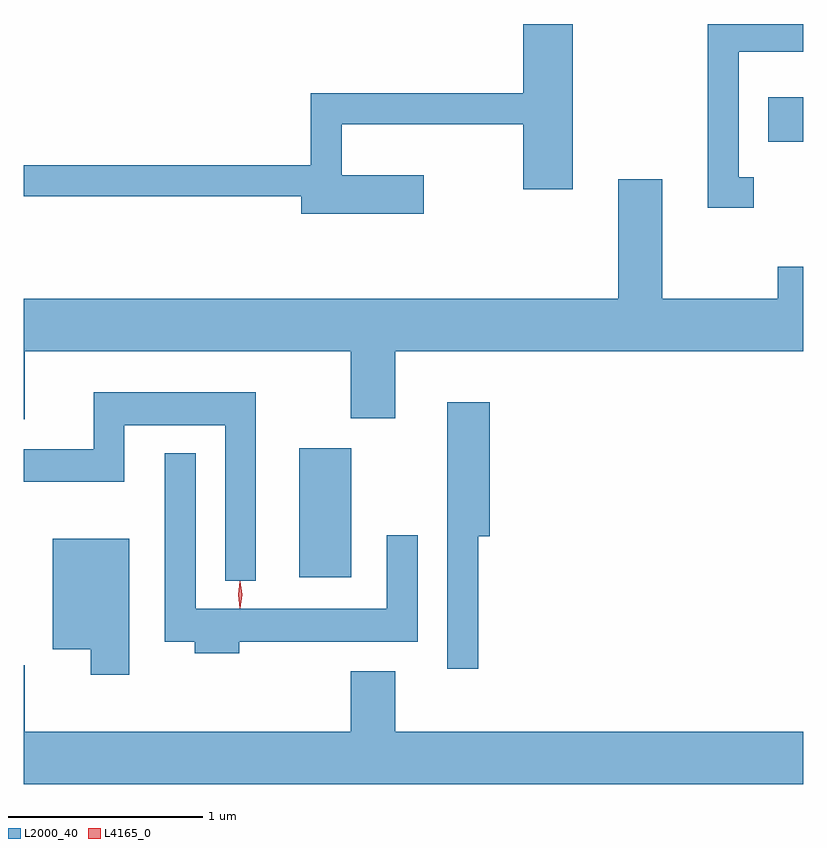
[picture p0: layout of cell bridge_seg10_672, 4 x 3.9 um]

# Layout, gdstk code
import gdstk
lib = gdstk.Library(unit=1e-6, precision=1e-09)
def R(c, l, rs):  # rectangles x0, y0, x1, y1
    for r in rs: c.add(gdstk.rectangle(r[:2], r[2:], *l))
def P(c, l, *ps):  # polygons
    for p in ps: c.add(gdstk.Polygon(p, *l))
L2000_40 = (2000, 40)
L4165_0 = (4165, 0)

bridge_seg10_672 = lib.new_cell('bridge_seg10_672')
R(bridge_seg10_672, L2000_40, [(1042.576,2121.636,1042.844,2122.299), (1044.981,2123.871,1045.162,2124.099)])
P(bridge_seg10_672, L2000_40, [(1043.214,2123.699),(1042.794,2123.699),(1042.794,2123.961),(1043.726,2123.961),(1043.726,2123.626),(1043.979,2123.626),(1043.979,2124.474),(1043.726,2124.474),(1043.726,2124.119),(1042.636,2124.119),(1042.636,2123.749),(1041.162,2123.749),(1041.162,2123.591),(1042.586,2123.591),(1042.586,2123.501),(1043.214,2123.501)],
  [(1044.908,2123.689),(1044.829,2123.689),(1044.829,2124.331),(1045.162,2124.331),(1045.162,2124.474),(1044.671,2124.474),(1044.671,2123.531),(1044.908,2123.531)],
  [(1041.169,2122.796),(1042.841,2122.796),(1042.841,2122.451),(1043.069,2122.451),(1043.069,2122.796),(1045.162,2122.796),(1045.162,2123.229),(1045.031,2123.229),(1045.031,2123.064),(1044.439,2123.064),(1044.439,2123.679),(1044.211,2123.679),(1044.211,2123.064),(1041.162,2123.064),(1041.162,2122.446),(1041.169,2122.446)],
  [(1042.354,2122.584),(1041.521,2122.584),(1041.521,2122.294),(1041.162,2122.294),(1041.162,2122.126),(1041.679,2122.126),(1041.679,2122.416),(1042.196,2122.416),(1042.196,2121.618),(1042.354,2121.618)],
  [(1043.494,2121.846),(1043.554,2121.846),(1043.554,2122.534),(1043.336,2122.534),(1043.336,2121.168),(1043.494,2121.168)],
  [(1042.269,2121.306),(1043.184,2121.306),(1043.184,2121.853),(1043.026,2121.853),(1043.026,2121.474),(1042.044,2121.474),(1042.044,2122.273),(1041.886,2122.273),(1041.886,2121.306),(1042.041,2121.306),(1042.041,2121.246),(1042.269,2121.246)],
  [(1041.704,2121.834),(1041.311,2121.834),(1041.311,2121.266),(1041.506,2121.266),(1041.506,2121.136),(1041.704,2121.136)],
  [(1045.162,2120.844),(1043.069,2120.844),(1043.069,2121.154),(1042.841,2121.154),(1042.841,2120.844),(1041.169,2120.844),(1041.169,2121.184),(1041.162,2121.184),(1041.162,2120.576),(1045.162,2120.576)])
P(bridge_seg10_672, L4165_0, [(1042.273,2121.479),(1042.272,2121.48),(1042.263,2121.546),(1042.272,2121.613),(1042.273,2121.613),(1042.273,2121.613),(1042.283,2121.546),(1042.273,2121.48)],
  [(1042.272,2121.477),(1042.263,2121.547),(1042.272,2121.616),(1042.273,2121.616),(1042.273,2121.616),(1042.283,2121.547),(1042.273,2121.477),(1042.273,2121.477)])

lib.write_gds('bridge_seg10_672.gds')
